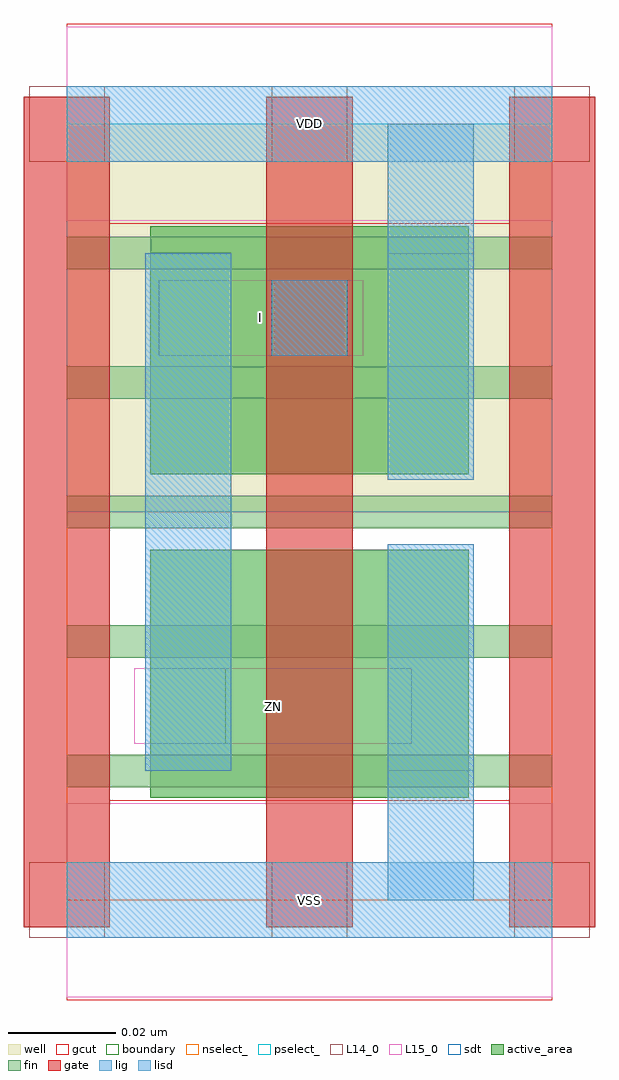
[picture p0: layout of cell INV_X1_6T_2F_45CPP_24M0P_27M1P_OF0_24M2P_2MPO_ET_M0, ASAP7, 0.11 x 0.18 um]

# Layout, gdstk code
import gdstk
lib = gdstk.Library(unit=1e-6, precision=2.5e-10)
def R(c, l, rs):  # rectangles x0, y0, x1, y1
    for r in rs: c.add(gdstk.rectangle(r[:2], r[2:], *l))
def A(c, l, x, y, w, h, nx, ny, dx, dy):  # array of equal rectangles
    R(c, l, [(x+i*dx, y+j*dy, x+i*dx+w, y+j*dy+h) for i in range(nx) for j in range(ny)])
well = (1, 0)
fin = (2, 0)
gate = (7, 0)
gcut = (10, 0)
active_area = (11, 0)
nselect_ = (12, 0)
pselect_ = (13, 0)
L14_0 = (14, 0)
L15_0 = (15, 0)
lig = (16, 0)
lisd = (17, 0)
sdt = (88, 0)
boundary = (100, 0)

inv_x1_6t_2f_45cpp_24m0p = lib.new_cell('INV_X1_6T_2F_45CPP_24M0P_27M1P_OF0_24M2P_2MPO_ET_M0')
R(inv_x1_6t_2f_45cpp_24m0p, well, [(0,0.072,0.09,0.144)])
A(inv_x1_6t_2f_45cpp_24m0p, fin, 0, 0.021, 0.09, 0.006, 1, 5, 0, 0.024)
A(inv_x1_6t_2f_45cpp_24m0p, gate, -0.008, -0.005, 0.016, 0.154, 3, 1, 0.045, 0)
R(inv_x1_6t_2f_45cpp_24m0p, gcut, [(0,-0.0185,0.09,0.0185), (-0.008,-0.005,0.008,0.149), (0.082,-0.005,0.098,0.149), (0,0.1255,0.09,0.1625)])
R(inv_x1_6t_2f_45cpp_24m0p, active_area, [(0.0155,0.019,0.0745,0.065), (0.0155,0.079,0.0745,0.125)])
R(inv_x1_6t_2f_45cpp_24m0p, nselect_, [(0,0,0.09,0.072)])
R(inv_x1_6t_2f_45cpp_24m0p, pselect_, [(0,0.072,0.09,0.144)])
A(inv_x1_6t_2f_45cpp_24m0p, L14_0, -0.007, -0.007, 0.014, 0.014, 3, 2, 0.045, 0.144)
R(inv_x1_6t_2f_45cpp_24m0p, L14_0, [(0.0155,0.029,0.0295,0.043), (0.038,0.101,0.052,0.115)])
R(inv_x1_6t_2f_45cpp_24m0p, L15_0, [(0,-0.018,0.09,0.018), (0.0125,0.029,0.064,0.043), (0.017,0.101,0.055,0.115), (0,0.126,0.09,0.162)])
R(inv_x1_6t_2f_45cpp_24m0p, lig, [(0,-0.007,0.09,0.007), (0.038,0.101,0.052,0.115), (0,0.137,0.09,0.151)])
R(inv_x1_6t_2f_45cpp_24m0p, lisd, [(0.0595,0,0.0755,0.066), (0.0145,0.024,0.0305,0.12), (0.0595,0.078,0.0755,0.144)])
R(inv_x1_6t_2f_45cpp_24m0p, sdt, [(0.0145,0.024,0.0305,0.12), (0.0595,0.024,0.0755,0.066), (0.0595,0.078,0.0755,0.12)])
R(inv_x1_6t_2f_45cpp_24m0p, boundary, [(0,0,0.09,0.144)])
inv_x1_6t_2f_45cpp_24m0p.add(gdstk.Label('I', (0.036,0.108), layer=15, texttype=251))
inv_x1_6t_2f_45cpp_24m0p.add(gdstk.Label('ZN', (0.0382,0.036), layer=15, texttype=251))
inv_x1_6t_2f_45cpp_24m0p.add(gdstk.Label('VDD', (0.045,0.144), layer=15, texttype=251))
inv_x1_6t_2f_45cpp_24m0p.add(gdstk.Label('VSS', (0.045,0), layer=15, texttype=251))
inv_x1_6t_2f_45cpp_24m0p.add(gdstk.Label('VDD', (0.045,0.144), layer=1, texttype=251))
inv_x1_6t_2f_45cpp_24m0p.add(gdstk.Label('VSS', (0.045,0), layer=3, texttype=251))

lib.write_gds('INV_X1_6T_2F_45CPP_24M0P_27M1P_OF0_24M2P_2MPO_ET_M0.gds')
